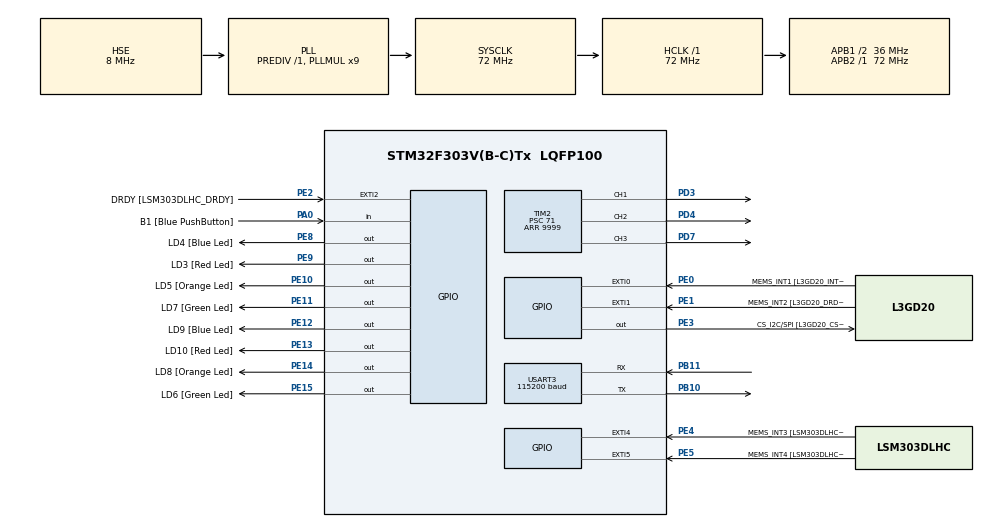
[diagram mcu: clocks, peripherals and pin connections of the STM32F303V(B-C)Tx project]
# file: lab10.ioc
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Mcu.Family=STM32F3
Mcu.Name=STM32F303V(B-C)Tx
Mcu.Package=LQFP100
NVIC.PriorityGroup=NVIC_PRIORITYGROUP_0
PA0.GPIO_Label=B1 [Blue PushButton]
PA0.GPIO_Mode=GPIO_MODE_INPUT
PA0.GPIO_PuPd=GPIO_NOPULL
PA0.Signal=GPIO_Input
PA11.GPIO_Label=DM
PA11.Signal=USB_DM
PA12.GPIO_Label=DP
PA12.Signal=USB_DP
PA13.GPIO_Label=SWDIO
PA13.Signal=SYS_JTMS-SWDIO
PA14.GPIO_Label=SWCLK
PA14.Signal=SYS_JTCK-SWCLK
PA5.GPIO_Label=SPI1_SCK [L3GD20_SCL/SPC]
PA5.GPIO_Mode=GPIO_MODE_AF_PP
PA5.GPIO_PuPd=GPIO_NOPULL
PA5.GPIO_Speed=GPIO_SPEED_FREQ_LOW
PA5.Signal=SPI1_SCK
PA6.GPIO_Label=SPI1_MISO [L3GD20_SA0/SDO]
PA6.GPIO_Mode=GPIO_MODE_AF_PP
PA6.GPIO_PuPd=GPIO_NOPULL
PA6.GPIO_Speed=GPIO_SPEED_FREQ_LOW
PA6.Signal=SPI1_MISO
PA7.GPIO_Label=SPI1_MISO [L3GD20_SDA/SDI/SDO]
PA7.GPIO_Mode=GPIO_MODE_AF_PP
PA7.GPIO_PuPd=GPIO_NOPULL
PA7.GPIO_Speed=GPIO_SPEED_FREQ_LOW
PA7.Signal=SPI1_MOSI
PB10.Mode=Asynchronous
PB10.Signal=USART3_TX
PB11.Mode=Asynchronous
PB11.Signal=USART3_RX
PB3.GPIO_Label=SWO
PB3.Signal=SYS_JTDO-TRACESWO
PB6.GPIO_FM6=__NULL
PB6.GPIO_Label=I2C1_SCL [LSM303DLHC_SCL]
PB6.GPIO_Mode=GPIO_MODE_AF_OD
PB6.GPIO_PuPd=GPIO_NOPULL
PB6.GPIO_Speed=GPIO_SPEED_FREQ_LOW
PB6.Signal=I2C1_SCL
PB7.GPIO_FM7=__NULL
PB7.GPIO_Label=I2C1_SDA [LSM303DLHC_SDA]
PB7.GPIO_Mode=GPIO_MODE_AF_OD
PB7.GPIO_PuPd=GPIO_NOPULL
PB7.GPIO_Speed=GPIO_SPEED_FREQ_LOW
PB7.Signal=I2C1_SDA
PC14-OSC32_IN.GPIO_Label=OSC32_IN
PC14-OSC32_IN.Signal=RCC_OSC32_IN
PC15-OSC32_OUT.GPIO_Label=OSC32_OUT
PC15-OSC32_OUT.Signal=RCC_OSC32_OUT
PD3.Signal=S_TIM2_CH1_ETR
PD4.Signal=S_TIM2_CH2
PD7.Signal=S_TIM2_CH3
PE0.GPIO_Label=MEMS_INT1 [L3GD20_INT1]
PE0.GPIO_ModeDefaultEXTI=GPIO_MODE_EVT_RISING
PE0.GPIO_PuPd=GPIO_NOPULL
PE0.Signal=GPXTI0
PE1.GPIO_Label=MEMS_INT2 [L3GD20_DRDY/INT2]
PE1.GPIO_ModeDefaultEXTI=GPIO_MODE_EVT_RISING
PE1.GPIO_PuPd=GPIO_NOPULL
PE1.Signal=GPXTI1
PE10.GPIO_Label=LD5 [Orange Led]
PE10.GPIO_ModeDefaultOutputPP=GPIO_MODE_OUTPUT_PP
PE10.GPIO_PuPd=GPIO_NOPULL
PE10.GPIO_Speed=GPIO_SPEED_FREQ_LOW
PE10.Signal=GPIO_Output
PE11.GPIO_Label=LD7 [Green Led]
PE11.GPIO_ModeDefaultOutputPP=GPIO_MODE_OUTPUT_PP
PE11.GPIO_PuPd=GPIO_NOPULL
PE11.GPIO_Speed=GPIO_SPEED_FREQ_LOW
PE11.Signal=GPIO_Output
PE12.GPIO_Label=LD9 [Blue Led]
PE12.GPIO_ModeDefaultOutputPP=GPIO_MODE_OUTPUT_PP
PE12.GPIO_PuPd=GPIO_NOPULL
PE12.GPIO_Speed=GPIO_SPEED_FREQ_LOW
PE12.Signal=GPIO_Output
PE13.GPIO_Label=LD10 [Red Led]
PE13.GPIO_ModeDefaultOutputPP=GPIO_MODE_OUTPUT_PP
PE13.GPIO_PuPd=GPIO_NOPULL
PE13.GPIO_Speed=GPIO_SPEED_FREQ_LOW
PE13.Signal=GPIO_Output
PE14.GPIO_Label=LD8 [Orange Led]
PE14.GPIO_ModeDefaultOutputPP=GPIO_MODE_OUTPUT_PP
PE14.GPIO_PuPd=GPIO_NOPULL
PE14.GPIO_Speed=GPIO_SPEED_FREQ_LOW
PE14.Signal=GPIO_Output
PE15.GPIO_Label=LD6 [Green Led]
PE15.GPIO_ModeDefaultOutputPP=GPIO_MODE_OUTPUT_PP
PE15.GPIO_PuPd=GPIO_NOPULL
PE15.GPIO_Speed=GPIO_SPEED_FREQ_LOW
PE15.Signal=GPIO_Output
PE2.GPIO_Label=DRDY [LSM303DLHC_DRDY]
PE2.GPIO_ModeDefaultEXTI=GPIO_MODE_EVT_RISING
PE2.GPIO_PuPd=GPIO_NOPULL
PE2.Signal=GPXTI2
PE3.GPIO_Label=CS_I2C/SPI [L3GD20_CS_I2C/SPI]
PE3.GPIO_ModeDefaultOutputPP=GPIO_MODE_OUTPUT_PP
PE3.GPIO_PuPd=GPIO_NOPULL
PE3.GPIO_Speed=GPIO_SPEED_FREQ_LOW
PE3.Signal=GPIO_Output
PE4.GPIO_Label=MEMS_INT3 [LSM303DLHC_INT1]
PE4.GPIO_ModeDefaultEXTI=GPIO_MODE_EVT_RISING
PE4.GPIO_PuPd=GPIO_NOPULL
PE4.Signal=GPXTI4
PE5.GPIO_Label=MEMS_INT4 [LSM303DLHC_INT2]
PE5.GPIO_ModeDefaultEXTI=GPIO_MODE_EVT_RISING
PE5.GPIO_PuPd=GPIO_NOPULL
PE5.Signal=GPXTI5
PE8.GPIO_Label=LD4 [Blue Led]
PE8.GPIO_ModeDefaultOutputPP=GPIO_MODE_OUTPUT_PP
PE8.GPIO_PuPd=GPIO_NOPULL
PE8.GPIO_Speed=GPIO_SPEED_FREQ_LOW
PE8.Signal=GPIO_Output
PE9.GPIO_Label=LD3 [Red Led]
PE9.GPIO_ModeDefaultOutputPP=GPIO_MODE_OUTPUT_PP
PE9.GPIO_PuPd=GPIO_NOPULL
PE9.GPIO_Speed=GPIO_SPEED_FREQ_LOW
PE9.Signal=GPIO_Output
PF0-OSC_IN.GPIO_Label=OSC_IN
PF0-OSC_IN.Mode=HSE-External-Clock-Source
PF0-OSC_IN.Signal=RCC_OSC_IN
PF1-OSC_OUT.GPIO_Label=OSC_OUT
PF1-OSC_OUT.Signal=RCC_OSC_OUT
ProjectManager.HeapSize=0x200
ProjectManager.StackSize=0x400
ProjectManager.TargetToolchain=MDK-ARM V5
RCC.AHBFreq_Value=72000000
RCC.APB1CLKDivider=RCC_HCLK_DIV2
RCC.APB1Freq_Value=36000000
RCC.APB1TimFreq_Value=72000000
RCC.APB2Freq_Value=72000000
RCC.APB2TimFreq_Value=72000000
RCC.CortexFreq_Value=72000000
RCC.HCLKFreq_Value=72000000
RCC.HSE_VALUE=8000000
RCC.HSI_VALUE=8000000
RCC.LSE_VALUE=32768
RCC.PLLMUL=RCC_PLL_MUL9
RCC.PLLSourceVirtual=RCC_PLLSOURCE_HSE
RCC.SYSCLKFreq_VALUE=72000000
RCC.SYSCLKSourceVirtual=RCC_SYSCLKSOURCE_PLLCLK
RCC.USBFreq_Value=72000000
SH.S_TIM2_CH1_ETR.0=TIM2_CH1,PWM Generation1 CH1
SH.S_TIM2_CH2.0=TIM2_CH2,PWM Generation2 CH2
SH.S_TIM2_CH3.0=TIM2_CH3,PWM Generation3 CH3
TIM2.Channel-PWM\ Generation1\ CH1=TIM_CHANNEL_1
TIM2.Channel-PWM\ Generation2\ CH2=TIM_CHANNEL_2
TIM2.Channel-PWM\ Generation3\ CH3=TIM_CHANNEL_3
TIM2.Period=9999
TIM2.Prescaler=71
TIM2.Pulse-PWM\ Generation1\ CH1=4999
TIM2.Pulse-PWM\ Generation2\ CH2=4999
TIM2.Pulse-PWM\ Generation3\ CH3=4999
USART3.BaudRate=115200
USART3.VirtualMode-Asynchronous=VM_ASYNC
board=STM32F3DISCOVERY

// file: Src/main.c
/* USER CODE BEGIN Header */
/**
  ******************************************************************************
  * @file           : main.c
  * @brief          : Main program body
  ******************************************************************************
  * @attention
  *
  * <h2><center>&copy; Copyright (c) 2019 STMicroelectronics.
  * All rights reserved.</center></h2>
  *
  * This software component is licensed by ST under BSD 3-Clause license,
  * the "License"; You may not use this file except in compliance with the
  * License. You may obtain a copy of the License at:
  *                        opensource.org/licenses/BSD-3-Clause
  *
  ******************************************************************************
  */
/* USER CODE END Header */

#include "main.h"
/* USER CODE BEGIN Includes */
#include <stdio.h>
#include <string.h>
#include <stdlib.h>
/* USER CODE END Includes */

TIM_HandleTypeDef htim2;

UART_HandleTypeDef huart3;

/* USER CODE BEGIN PV */
void ledR(uint16_t R);
void ledG(uint16_t G);
void ledB(uint16_t B);
/* USER CODE END PV */

void SystemClock_Config(void);
static void MX_GPIO_Init(void);
static void MX_TIM2_Init(void);
static void MX_USART3_UART_Init(void);

/* USER CODE BEGIN 0 */
	 TIM_OC_InitTypeDef sConfigOC;
	 uint16_t count;
	 uint16_t iPulseR;
	 uint16_t iPulseG;
	 uint16_t iPulseB;

	 uint16_t percent = 0;
	 uint8_t inCount = 0;
	 uint8_t inChar, inBuffer[50];
/* USER CODE END 0 */

int main(void)
{

  /* MCU Configuration--------------------------------------------------------*/

  /* Reset of all peripherals, Initializes the Flash interface and the Systick. */
  HAL_Init();

  /* Configure the system clock */
  SystemClock_Config();

  /* Initialize all configured peripherals */
  MX_GPIO_Init();
  MX_TIM2_Init();
  MX_USART3_UART_Init();
  /* USER CODE BEGIN 2 */

//	while(1){
//		uint8_t str[255];
//		sprintf((char *)str, "HELLOX\r\n");
//		HAL_UART_Transmit(&huart3, str, sizeof(str), 100);
//		HAL_Delay(1000);
//	}

	HAL_TIM_PWM_Start(&htim2, TIM_CHANNEL_1);
	HAL_TIM_PWM_Start(&htim2, TIM_CHANNEL_2);
	HAL_TIM_PWM_Start(&htim2, TIM_CHANNEL_3);
	sConfigOC.OCMode = TIM_OCMODE_PWM1;
	sConfigOC.OCPolarity = TIM_OCPOLARITY_HIGH;
	sConfigOC.OCFastMode = TIM_OCFAST_DISABLE;

	sConfigOC.Pulse = 0;
	HAL_TIM_PWM_ConfigChannel(&htim2, &sConfigOC, TIM_CHANNEL_1);
	HAL_TIM_PWM_Start(&htim2, TIM_CHANNEL_1);
	HAL_TIM_PWM_ConfigChannel(&htim2, &sConfigOC, TIM_CHANNEL_2);
	HAL_TIM_PWM_Start(&htim2, TIM_CHANNEL_2);
	HAL_TIM_PWM_ConfigChannel(&htim2, &sConfigOC, TIM_CHANNEL_3);
	HAL_TIM_PWM_Start(&htim2, TIM_CHANNEL_3);

	for(uint8_t i = 0; i < 25; i++)
	{
		HAL_UART_Transmit(&huart3, (uint8_t *)"\r\n", 2, 100);
	}

	HAL_TIM_PWM_Start(&htim2, TIM_CHANNEL_1);
	HAL_UART_Transmit(&huart3, (uint8_t *)"Welcome_to terminal\r\n>", 22, 100);

	while(1){
		if (HAL_UART_Receive(&huart3, &inChar, 1, 100) == HAL_OK){
			if(inChar == '\r'){
				inBuffer[inCount] = '\0';
				inCount = 0;
				HAL_UART_Transmit(&huart3, (uint8_t *)"\r\n>", 3, 100);

				/* Command Decoding */
				if (strcmp((const char *)inBuffer, "ON") == 0){
					HAL_GPIO_WritePin(GPIOE, GPIO_PIN_8, GPIO_PIN_SET);
				}

				if (strcmp((const char *)inBuffer, "OFF") == 0){
					HAL_GPIO_WritePin(GPIOE, GPIO_PIN_8, GPIO_PIN_RESET);
				}

				if (inBuffer[0] == 'R'){
					percent = 9999/100*(strtod((const char *)inBuffer+1, NULL));
					ledR(percent);
//					ledG(0);
//					ledB(0);
				}
				if (inBuffer[0] == 'G'){
					percent = 9999/100*(strtod((const char *)inBuffer+1, NULL));
//					ledR(0);
					ledG(percent);
//					ledB(0);
				}
				if (inBuffer[0] == 'B'){
					percent = 9999/100*(strtod((const char *)inBuffer+1, NULL));
//					ledR(0);
//					ledG(0);
					ledB(percent);
				}

			}else{
				HAL_UART_Transmit(&huart3, &inChar, 1, 100);
				inBuffer[inCount] = inChar;
				inCount++;
			}
		}
	}

//	sConfigOC.Pulse = 4999;
//	HAL_TIM_PWM_ConfigChannel(&htim2, &sConfigOC, TIM_CHANNEL_1);
//	HAL_TIM_PWM_Start(&htim2, TIM_CHANNEL_1);

//	sConfigOC.Pulse = 4999;
//	HAL_TIM_PWM_ConfigChannel(&htim2, &sConfigOC, TIM_CHANNEL_2);
//	HAL_TIM_PWM_Start(&htim2, TIM_CHANNEL_2);
//
//	sConfigOC.Pulse = 0;
//	HAL_TIM_PWM_ConfigChannel(&htim2, &sConfigOC, TIM_CHANNEL_3);
//	HAL_TIM_PWM_Start(&htim2, TIM_CHANNEL_3);

  /* USER CODE END 2 */

  /* Infinite loop */
  while (1)
  {

    /* USER CODE BEGIN 3 */
		for(iPulseR = 0; iPulseR <= 9999;){
				if(iPulseR >= 9999){
					for(iPulseG = 0; iPulseG <= 9999;){
						if(iPulseG >= 9999){
								for(iPulseB = 0; iPulseB <= 9999;){
									if(iPulseB >= 9999){
										ledB(iPulseB--);
									}else{
										ledG(iPulseG--);
										ledB(iPulseB++);
									}
									HAL_Delay(1);
								}
						}else{
								ledG(iPulseG++);
								ledR(iPulseR--);
								HAL_Delay(1);
						}
					}
				}else{
					ledR(iPulseR++);
					HAL_Delay(1);
				}
		}

  }
  /* USER CODE END 3 */
}

void SystemClock_Config(void)
{
  RCC_OscInitTypeDef RCC_OscInitStruct = {0};
  RCC_ClkInitTypeDef RCC_ClkInitStruct = {0};
  RCC_PeriphCLKInitTypeDef PeriphClkInit = {0};

  /** Initializes the CPU, AHB and APB busses clocks
  */
  RCC_OscInitStruct.OscillatorType = RCC_OSCILLATORTYPE_HSE;
  RCC_OscInitStruct.HSEState = RCC_HSE_BYPASS;
  RCC_OscInitStruct.HSEPredivValue = RCC_HSE_PREDIV_DIV1;
  RCC_OscInitStruct.HSIState = RCC_HSI_ON;
  RCC_OscInitStruct.PLL.PLLState = RCC_PLL_ON;
  RCC_OscInitStruct.PLL.PLLSource = RCC_PLLSOURCE_HSE;
  RCC_OscInitStruct.PLL.PLLMUL = RCC_PLL_MUL9;
  if (HAL_RCC_OscConfig(&RCC_OscInitStruct) != HAL_OK)
  {
    Error_Handler();
  }
  /** Initializes the CPU, AHB and APB busses clocks
  */
  RCC_ClkInitStruct.ClockType = RCC_CLOCKTYPE_HCLK|RCC_CLOCKTYPE_SYSCLK
                              |RCC_CLOCKTYPE_PCLK1|RCC_CLOCKTYPE_PCLK2;
  RCC_ClkInitStruct.SYSCLKSource = RCC_SYSCLKSOURCE_PLLCLK;
  RCC_ClkInitStruct.AHBCLKDivider = RCC_SYSCLK_DIV1;
  RCC_ClkInitStruct.APB1CLKDivider = RCC_HCLK_DIV2;
  RCC_ClkInitStruct.APB2CLKDivider = RCC_HCLK_DIV1;

  if (HAL_RCC_ClockConfig(&RCC_ClkInitStruct, FLASH_LATENCY_2) != HAL_OK)
  {
    Error_Handler();
  }
  PeriphClkInit.PeriphClockSelection = RCC_PERIPHCLK_USART3;
  PeriphClkInit.Usart3ClockSelection = RCC_USART3CLKSOURCE_PCLK1;
  if (HAL_RCCEx_PeriphCLKConfig(&PeriphClkInit) != HAL_OK)
  {
    Error_Handler();
  }
}

static void MX_TIM2_Init(void)
{

  TIM_MasterConfigTypeDef sMasterConfig = {0};
  TIM_OC_InitTypeDef sConfigOC = {0};

  htim2.Instance = TIM2;
  htim2.Init.Prescaler = 71;
  htim2.Init.CounterMode = TIM_COUNTERMODE_UP;
  htim2.Init.Period = 9999;
  htim2.Init.ClockDivision = TIM_CLOCKDIVISION_DIV1;
  htim2.Init.AutoReloadPreload = TIM_AUTORELOAD_PRELOAD_DISABLE;
  if (HAL_TIM_PWM_Init(&htim2) != HAL_OK)
  {
    Error_Handler();
  }
  sMasterConfig.MasterOutputTrigger = TIM_TRGO_RESET;
  sMasterConfig.MasterSlaveMode = TIM_MASTERSLAVEMODE_DISABLE;
  if (HAL_TIMEx_MasterConfigSynchronization(&htim2, &sMasterConfig) != HAL_OK)
  {
    Error_Handler();
  }
  sConfigOC.OCMode = TIM_OCMODE_PWM1;
  sConfigOC.Pulse = 4999;
  sConfigOC.OCPolarity = TIM_OCPOLARITY_HIGH;
  sConfigOC.OCFastMode = TIM_OCFAST_DISABLE;
  if (HAL_TIM_PWM_ConfigChannel(&htim2, &sConfigOC, TIM_CHANNEL_1) != HAL_OK)
  {
    Error_Handler();
  }
  if (HAL_TIM_PWM_ConfigChannel(&htim2, &sConfigOC, TIM_CHANNEL_2) != HAL_OK)
  {
    Error_Handler();
  }
  if (HAL_TIM_PWM_ConfigChannel(&htim2, &sConfigOC, TIM_CHANNEL_3) != HAL_OK)
  {
    Error_Handler();
  }
  HAL_TIM_MspPostInit(&htim2);

}

static void MX_USART3_UART_Init(void)
{

  huart3.Instance = USART3;
  huart3.Init.BaudRate = 115200;
  huart3.Init.WordLength = UART_WORDLENGTH_8B;
  huart3.Init.StopBits = UART_STOPBITS_1;
  huart3.Init.Parity = UART_PARITY_NONE;
  huart3.Init.Mode = UART_MODE_TX_RX;
  huart3.Init.HwFlowCtl = UART_HWCONTROL_NONE;
  huart3.Init.OverSampling = UART_OVERSAMPLING_16;
  huart3.Init.OneBitSampling = UART_ONE_BIT_SAMPLE_DISABLE;
  huart3.AdvancedInit.AdvFeatureInit = UART_ADVFEATURE_NO_INIT;
  if (HAL_UART_Init(&huart3) != HAL_OK)
  {
    Error_Handler();
  }

}

static void MX_GPIO_Init(void)
{
  GPIO_InitTypeDef GPIO_InitStruct = {0};

  /* GPIO Ports Clock Enable */
  __HAL_RCC_GPIOE_CLK_ENABLE();
  __HAL_RCC_GPIOC_CLK_ENABLE();
  __HAL_RCC_GPIOF_CLK_ENABLE();
  __HAL_RCC_GPIOA_CLK_ENABLE();
  __HAL_RCC_GPIOB_CLK_ENABLE();
  __HAL_RCC_GPIOD_CLK_ENABLE();

  /*Configure GPIO pin Output Level */
  HAL_GPIO_WritePin(GPIOE, CS_I2C_SPI_Pin|LD4_Pin|LD3_Pin|LD5_Pin
                          |LD7_Pin|LD9_Pin|LD10_Pin|LD8_Pin
                          |LD6_Pin, GPIO_PIN_RESET);

  /*Configure GPIO pins : DRDY_Pin MEMS_INT3_Pin MEMS_INT4_Pin MEMS_INT1_Pin
                           MEMS_INT2_Pin */
  GPIO_InitStruct.Pin = DRDY_Pin|MEMS_INT3_Pin|MEMS_INT4_Pin|MEMS_INT1_Pin
                          |MEMS_INT2_Pin;
  GPIO_InitStruct.Mode = GPIO_MODE_EVT_RISING;
  GPIO_InitStruct.Pull = GPIO_NOPULL;
  HAL_GPIO_Init(GPIOE, &GPIO_InitStruct);

  /*Configure GPIO pins : CS_I2C_SPI_Pin LD4_Pin LD3_Pin LD5_Pin
                           LD7_Pin LD9_Pin LD10_Pin LD8_Pin
                           LD6_Pin */
  GPIO_InitStruct.Pin = CS_I2C_SPI_Pin|LD4_Pin|LD3_Pin|LD5_Pin
                          |LD7_Pin|LD9_Pin|LD10_Pin|LD8_Pin
                          |LD6_Pin;
  GPIO_InitStruct.Mode = GPIO_MODE_OUTPUT_PP;
  GPIO_InitStruct.Pull = GPIO_NOPULL;
  GPIO_InitStruct.Speed = GPIO_SPEED_FREQ_LOW;
  HAL_GPIO_Init(GPIOE, &GPIO_InitStruct);

  /*Configure GPIO pin : B1_Pin */
  GPIO_InitStruct.Pin = B1_Pin;
  GPIO_InitStruct.Mode = GPIO_MODE_INPUT;
  GPIO_InitStruct.Pull = GPIO_NOPULL;
  HAL_GPIO_Init(B1_GPIO_Port, &GPIO_InitStruct);

  /*Configure GPIO pins : SPI1_SCK_Pin SPI1_MISO_Pin SPI1_MISOA7_Pin */
  GPIO_InitStruct.Pin = SPI1_SCK_Pin|SPI1_MISO_Pin|SPI1_MISOA7_Pin;
  GPIO_InitStruct.Mode = GPIO_MODE_AF_PP;
  GPIO_InitStruct.Pull = GPIO_NOPULL;
  GPIO_InitStruct.Speed = GPIO_SPEED_FREQ_LOW;
  GPIO_InitStruct.Alternate = GPIO_AF5_SPI1;
  HAL_GPIO_Init(GPIOA, &GPIO_InitStruct);

  /*Configure GPIO pins : DM_Pin DP_Pin */
  GPIO_InitStruct.Pin = DM_Pin|DP_Pin;
  GPIO_InitStruct.Mode = GPIO_MODE_AF_PP;
  GPIO_InitStruct.Pull = GPIO_NOPULL;
  GPIO_InitStruct.Speed = GPIO_SPEED_FREQ_HIGH;
  GPIO_InitStruct.Alternate = GPIO_AF14_USB;
  HAL_GPIO_Init(GPIOA, &GPIO_InitStruct);

  /*Configure GPIO pins : I2C1_SCL_Pin I2C1_SDA_Pin */
  GPIO_InitStruct.Pin = I2C1_SCL_Pin|I2C1_SDA_Pin;
  GPIO_InitStruct.Mode = GPIO_MODE_AF_OD;
  GPIO_InitStruct.Pull = GPIO_PULLUP;
  GPIO_InitStruct.Speed = GPIO_SPEED_FREQ_LOW;
  GPIO_InitStruct.Alternate = GPIO_AF4_I2C1;
  HAL_GPIO_Init(GPIOB, &GPIO_InitStruct);

}

/* USER CODE BEGIN 4 */
void ledR(uint16_t R){
			sConfigOC.Pulse = R;
			HAL_TIM_PWM_ConfigChannel(&htim2, &sConfigOC, TIM_CHANNEL_1);
			HAL_TIM_PWM_Start(&htim2, TIM_CHANNEL_1);
}

void ledG(uint16_t G){
			sConfigOC.Pulse = G;
			HAL_TIM_PWM_ConfigChannel(&htim2, &sConfigOC, TIM_CHANNEL_2);
			HAL_TIM_PWM_Start(&htim2, TIM_CHANNEL_2);
}

void ledB(uint16_t B){
			sConfigOC.Pulse = B;
			HAL_TIM_PWM_ConfigChannel(&htim2, &sConfigOC, TIM_CHANNEL_3);
			HAL_TIM_PWM_Start(&htim2, TIM_CHANNEL_3);
}
/* USER CODE END 4 */

void Error_Handler(void)
{
}

/************************ (C) COPYRIGHT STMicroelectronics *****END OF FILE****/
